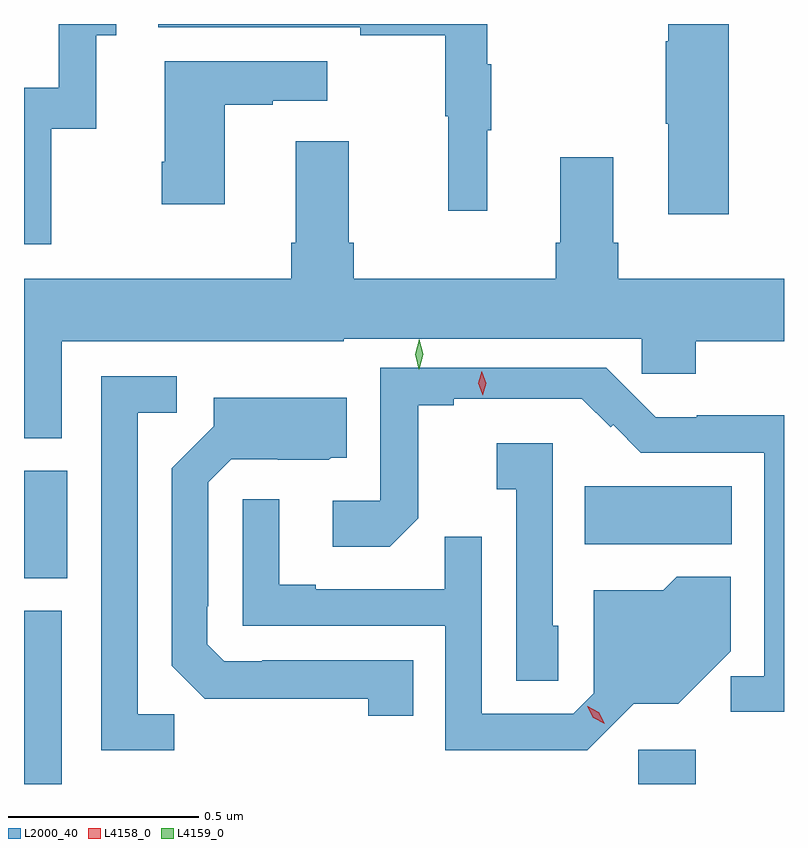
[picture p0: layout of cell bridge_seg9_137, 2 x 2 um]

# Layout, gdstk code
import gdstk
lib = gdstk.Library(unit=1e-6, precision=1e-09)
def R(c, l, rs):  # rectangles x0, y0, x1, y1
    for r in rs: c.add(gdstk.rectangle(r[:2], r[2:], *l))
def P(c, l, *ps):  # polygons
    for p in ps: c.add(gdstk.Polygon(p, *l))
L2000_40 = (2000, 40)
L4158_0 = (4158, 0)
L4159_0 = (4159, 0)

bridge_seg9_137 = lib.new_cell('bridge_seg9_137')
R(bridge_seg9_137, L2000_40, [(390.526,1212.571,390.625,1213.027), (392.142,1212.571,392.294,1212.661), (390.526,1213.112,390.64,1213.396), (392.002,1213.202,392.389,1213.354)])
P(bridge_seg9_137, L2000_40, [(390.598,1214.295),(390.716,1214.295),(390.716,1214.541),(390.769,1214.541),(390.769,1214.571),(390.618,1214.571),(390.618,1214.403),(390.526,1214.403),(390.526,1213.992),(390.598,1213.992)],
  [(391.745,1214.291),(391.756,1214.291),(391.756,1214.465),(391.745,1214.465),(391.745,1214.571),(390.879,1214.571),(390.879,1214.562),(391.411,1214.562),(391.411,1214.542),(391.635,1214.542),(391.635,1214.328),(391.642,1214.328),(391.642,1214.079),(391.745,1214.079)],
  [(392.381,1214.571),(392.222,1214.571),(392.222,1214.525),(392.215,1214.525),(392.215,1214.308),(392.222,1214.308),(392.222,1214.07),(392.381,1214.07)],
  [(391.054,1214.359),(391.181,1214.359),(391.181,1214.369),(391.324,1214.369),(391.324,1214.473),(390.896,1214.473),(390.896,1214.209),(390.889,1214.209),(390.889,1214.097),(391.054,1214.097)],
  [(390.625,1213.736),(391.367,1213.736),(391.367,1213.743),(392.151,1213.743),(392.151,1213.651),(392.294,1213.651),(392.294,1213.736),(392.526,1213.736),(392.526,1213.9),(392.09,1213.9),(392.09,1213.996),(392.077,1213.996),(392.077,1214.221),(391.937,1214.221),(391.937,1213.996),(391.925,1213.996),(391.925,1213.9),(391.394,1213.9),(391.394,1213.996),(391.381,1213.996),(391.381,1214.263),(391.241,1214.263),(391.241,1213.996),(391.229,1213.996),(391.229,1213.9),(390.526,1213.9),(390.526,1213.481),(390.625,1213.481)],
  [(392.526,1213.541),(392.297,1213.541),(392.297,1213.536),(392.189,1213.536),(392.058,1213.667),(391.464,1213.667),(391.464,1213.317),(391.338,1213.317),(391.338,1213.196),(391.488,1213.196),(391.563,1213.271),(391.563,1213.568),(391.657,1213.568),(391.657,1213.585),(391.994,1213.585),(392.07,1213.51),(392.076,1213.516),(392.149,1213.443),(392.474,1213.443),(392.474,1212.854),(392.386,1212.854),(392.386,1212.761),(392.526,1212.761)],
  [(390.921,1212.755),(390.825,1212.755),(390.825,1213.548),(390.928,1213.548),(390.928,1213.644),(390.729,1213.644),(390.729,1212.66),(390.921,1212.66)],
  [(391.55,1212.897),(391.153,1212.897),(391.153,1212.894),(391.053,1212.894),(391.008,1212.939),(391.008,1213.039),(391.011,1213.039),(391.011,1213.365),(391.071,1213.425),(391.194,1213.425),(391.194,1213.424),(391.328,1213.424),(391.334,1213.43),(391.375,1213.43),(391.375,1213.588),(391.025,1213.588),(391.025,1213.512),(390.915,1213.402),(390.915,1212.882),(391.001,1212.796),(391.432,1212.796),(391.432,1212.75),(391.55,1212.75)],
  [(391.932,1212.987),(391.917,1212.987),(391.917,1213.468),(391.77,1213.468),(391.77,1213.347),(391.821,1213.347),(391.821,1212.843),(391.932,1212.843)],
  [(392.13,1212.782),(392.248,1212.782),(392.386,1212.92),(392.386,1213.117),(392.244,1213.117),(392.208,1213.081),(392.025,1213.081),(392.025,1212.81),(391.971,1212.756),(391.731,1212.756),(391.731,1213.222),(391.633,1213.222),(391.633,1213.083),(391.294,1213.083),(391.294,1213.096),(391.198,1213.096),(391.198,1213.321),(391.101,1213.321),(391.101,1212.987),(391.635,1212.987),(391.635,1212.66),(392.008,1212.66)])
P(bridge_seg9_137, L4158_0, [(391.733,1213.594),(391.733,1213.594),(391.722,1213.625),(391.73,1213.657),(391.73,1213.657),(391.731,1213.657),(391.742,1213.626),(391.733,1213.594)],
  [(392.054,1212.73),(392.024,1212.746),(392.008,1212.776),(392.008,1212.776),(392.009,1212.776),(392.038,1212.76),(392.054,1212.73),(392.054,1212.73)])
P(bridge_seg9_137, L4159_0, [(391.565,1213.663),(391.565,1213.663),(391.556,1213.702),(391.566,1213.741),(391.566,1213.741),(391.566,1213.741),(391.576,1213.702),(391.566,1213.663)])

lib.write_gds('bridge_seg9_137.gds')
